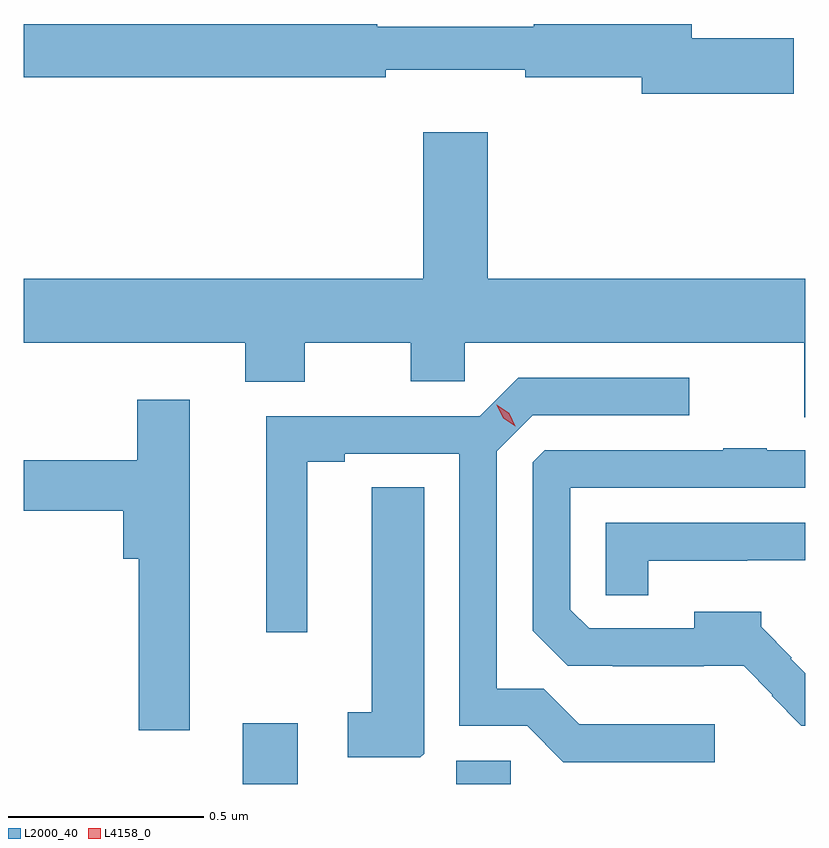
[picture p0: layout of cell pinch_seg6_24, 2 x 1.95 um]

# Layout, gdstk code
import gdstk
lib = gdstk.Library(unit=1e-6, precision=1e-09)
def R(c, l, rs):  # rectangles x0, y0, x1, y1
    for r in rs: c.add(gdstk.rectangle(r[:2], r[2:], *l))
def P(c, l, *ps):  # polygons
    for p in ps: c.add(gdstk.Polygon(p, *l))
L2000_40 = (2000, 40)
L4158_0 = (4158, 0)

pinch_seg6_24 = lib.new_cell('pinch_seg6_24')
R(pinch_seg6_24, L2000_40, [(955.754,979.507,955.894,979.663), (956.3,979.507,956.439,979.566)])
P(pinch_seg6_24, L2000_40, [(957.163,981.416),(956.902,981.416),(956.902,981.452),(956.498,981.452),(956.498,981.445),(956.098,981.445),(956.098,981.452),(955.193,981.452),(955.193,981.316),(956.12,981.316),(956.12,981.335),(956.476,981.335),(956.476,981.316),(956.774,981.316),(956.774,981.274),(957.163,981.274)],
  [(957.193,980.8),(956.38,980.8),(956.38,981.175),(956.216,981.175),(956.216,980.8),(955.193,980.8),(955.193,980.636),(955.76,980.636),(955.76,980.537),(955.912,980.537),(955.912,980.636),(956.183,980.636),(956.183,980.538),(956.322,980.538),(956.322,980.636),(957.191,980.636),(957.191,980.446),(957.193,980.446)],
  [(956.962,979.66),(956.615,979.66),(956.524,979.751),(956.403,979.751),(956.403,980.358),(956.496,980.451),(956.896,980.451),(956.896,980.547),(956.459,980.547),(956.36,980.448),(955.814,980.448),(955.814,979.896),(955.918,979.896),(955.918,980.332),(956.014,980.332),(956.014,980.352),(956.307,980.352),(956.307,979.656),(956.481,979.656),(956.574,979.563),(956.962,979.563)],
  [(955.618,980.491),(955.484,980.491),(955.484,980.335),(955.193,980.335),(955.193,980.206),(955.448,980.206),(955.448,980.084),(955.487,980.084),(955.487,979.644),(955.618,979.644)],
  [(957.193,979.79),(957.156,979.827),(957.159,979.83),(957.08,979.909),(957.08,979.948),(956.909,979.948),(956.909,979.905),(956.64,979.905),(956.592,979.953),(956.592,980.265),(957.193,980.265),(957.193,980.361),(957.095,980.361),(957.095,980.366),(956.983,980.366),(956.983,980.361),(956.526,980.361),(956.496,980.331),(956.496,979.899),(956.585,979.81),(956.701,979.81),(956.701,979.808),(956.933,979.808),(956.933,979.809),(957.035,979.809),(957.109,979.735),(957.107,979.733),(957.183,979.656),(957.193,979.656)],
  [(956.218,979.585),(956.218,980.267),(956.084,980.267),(956.084,979.691),(956.022,979.691),(956.022,979.575),(956.208,979.575)],
  [(956.791,980.078),(957.045,980.078),(957.045,980.079),(957.193,980.079),(957.193,980.175),(956.682,980.175),(956.682,979.99),(956.791,979.99)])
P(pinch_seg6_24, L4158_0, [(956.451,980.422),(956.42,980.443),(956.404,980.476),(956.404,980.477),(956.404,980.477),(956.435,980.456),(956.451,980.423),(956.451,980.422)])

lib.write_gds('pinch_seg6_24.gds')
